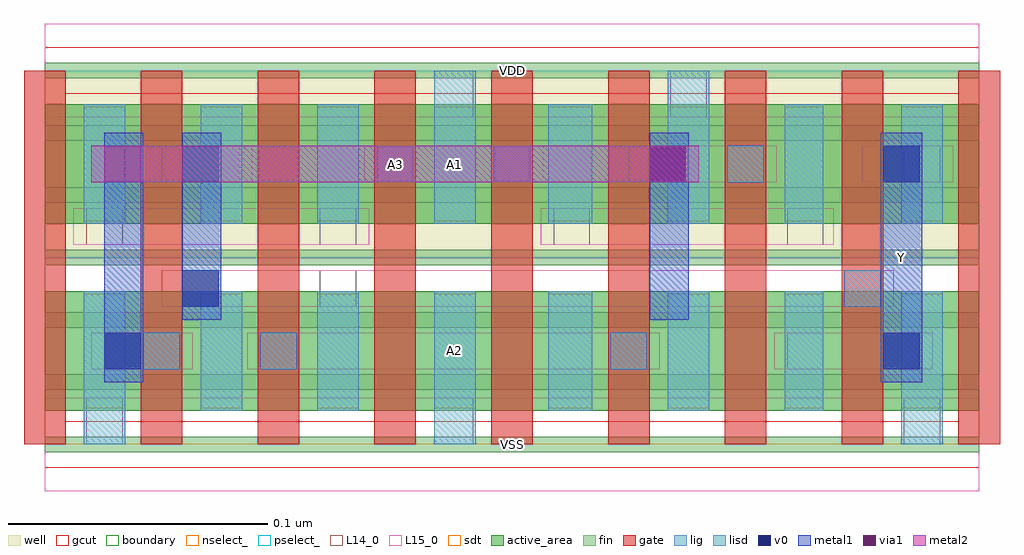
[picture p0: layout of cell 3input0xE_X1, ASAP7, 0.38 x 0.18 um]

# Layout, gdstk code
import gdstk
lib = gdstk.Library(unit=1e-6, precision=1e-09)
def R(c, l, rs):  # rectangles x0, y0, x1, y1
    for r in rs: c.add(gdstk.rectangle(r[:2], r[2:], *l))
def A(c, l, x, y, w, h, nx, ny, dx, dy):  # array of equal rectangles
    R(c, l, [(x+i*dx, y+j*dy, x+i*dx+w, y+j*dy+h) for i in range(nx) for j in range(ny)])
def P(c, l, *ps):  # polygons
    for p in ps: c.add(gdstk.Polygon(p, *l))
well = (1, 0)
fin = (2, 0)
gate = (7, 0)
gcut = (10, 0)
active_area = (11, 0)
nselect_ = (12, 0)
pselect_ = (13, 0)
L14_0 = (14, 0)
L15_0 = (15, 0)
lig = (16, 0)
lisd = (17, 0)
v0 = (18, 0)
metal1 = (19, 0)
metal2 = (20, 0)
via1 = (21, 0)
sdt = (88, 0)
boundary = (100, 0)

c_3input0xe_x1 = lib.new_cell('3input0xE_X1')
R(c_3input0xe_x1, well, [(0,0.072,0.36,0.144)])
A(c_3input0xe_x1, fin, 0, -0.003, 0.36, 0.006, 1, 7, 0, 0.024)
A(c_3input0xe_x1, gate, -0.008, 0, 0.016, 0.144, 9, 1, 0.045, 0)
P(c_3input0xe_x1, gcut, [(0,-0.009),(0,0),(-0.008,0),(-0.008,0.135),(0.008,0.135),(0.008,0.009),(0.352,0.009),(0.352,0.135),(-0.008,0.135),(-0.008,0.144),(0,0.144),(0,0.153),(0.36,0.153),(0.36,0.144),(0.368,0.144),(0.368,0),(0.36,0),(0.36,-0.009)])
R(c_3input0xe_x1, active_area, [(0,0.013,0.36,0.059), (0,0.085,0.36,0.131)])
R(c_3input0xe_x1, nselect_, [(0,0,0.36,0.072)])
R(c_3input0xe_x1, pselect_, [(0,0.072,0.36,0.144)])
A(c_3input0xe_x1, L14_0, 0.016, 0.077, 0.014, 0.014, 4, 1, 0.09, 0)
R(c_3input0xe_x1, L14_0, [(0.016,0,0.03,0.018), (0.15,0,0.165,0.018), (0.331,0,0.345,0.018), (0.038,0.029,0.052,0.043), (0.083,0.029,0.097,0.043), (0.218,0.029,0.232,0.043), (0.286,0.029,0.3,0.043), (0.106,0.053,0.12,0.067), (0.308,0.053,0.322,0.067), (0.061,0.101,0.075,0.115), (0.128,0.101,0.142,0.115), (0.173,0.101,0.187,0.115), (0.263,0.101,0.277,0.115), (0.331,0.101,0.345,0.115), (0.15,0.126,0.165,0.144), (0.241,0.126,0.255,0.144)])
R(c_3input0xe_x1, L15_0, [(0,-0.018,0.36,0.018), (0.018,0.029,0.057,0.043), (0.078,0.029,0.237,0.043), (0.281,0.029,0.342,0.043), (0.045,0.053,0.327,0.067), (0.011,0.077,0.125,0.091), (0.191,0.077,0.304,0.091), (0.045,0.101,0.08,0.115), (0.123,0.101,0.192,0.115), (0.225,0.101,0.282,0.115), (0.315,0.101,0.35,0.115), (0,0.126,0.36,0.162)])
R(c_3input0xe_x1, lig, [(0.038,0.029,0.052,0.043), (0.083,0.029,0.097,0.043), (0.218,0.029,0.232,0.043), (0.308,0.053,0.322,0.067), (0.128,0.101,0.142,0.115), (0.173,0.101,0.187,0.115), (0.263,0.101,0.277,0.115)])
A(c_3input0xe_x1, lisd, 0.015, 0.085, 0.016, 0.046, 3, 1, 0.045, 0)
R(c_3input0xe_x1, lisd, [(0.015,0,0.031,0.059), (0.15,0,0.166,0.059), (0.33,0,0.346,0.059), (0.06,0.013,0.076,0.059), (0.105,0.013,0.121,0.059), (0.194,0.013,0.211,0.059), (0.24,0.013,0.256,0.059), (0.285,0.013,0.3,0.059), (0.15,0.085,0.166,0.144), (0.194,0.085,0.211,0.131), (0.24,0.085,0.256,0.144), (0.285,0.085,0.3,0.131), (0.33,0.085,0.346,0.131)])
R(c_3input0xe_x1, v0, [(0.023,0.029,0.037,0.043), (0.323,0.029,0.337,0.043), (0.053,0.053,0.067,0.067), (0.053,0.101,0.067,0.115), (0.233,0.101,0.247,0.115), (0.323,0.101,0.337,0.115)])
R(c_3input0xe_x1, metal1, [(0.023,0.024,0.038,0.12), (0.322,0.024,0.338,0.12), (0.053,0.048,0.068,0.12), (0.233,0.048,0.248,0.12)])
R(c_3input0xe_x1, metal2, [(0.018,0.101,0.252,0.115)])
R(c_3input0xe_x1, via1, [(0.023,0.101,0.037,0.115), (0.233,0.101,0.247,0.115)])
A(c_3input0xe_x1, sdt, 0.015, 0.014, 0.016, 0.044, 4, 2, 0.045, 0.072)
R(c_3input0xe_x1, sdt, [(0.194,0.014,0.211,0.058), (0.24,0.014,0.256,0.058), (0.285,0.014,0.3,0.058), (0.33,0.014,0.346,0.058), (0.194,0.086,0.211,0.13), (0.24,0.086,0.256,0.13), (0.285,0.086,0.3,0.13), (0.33,0.086,0.346,0.13)])
R(c_3input0xe_x1, boundary, [(0,0,0.36,0.144)])
c_3input0xe_x1.add(gdstk.Label('A2', (0.158,0.036), layer=15, texttype=251))
c_3input0xe_x1.add(gdstk.Label('VSS', (0.18,0), layer=15, texttype=251))
c_3input0xe_x1.add(gdstk.Label('VDD', (0.18,0.144), layer=15, texttype=251))
c_3input0xe_x1.add(gdstk.Label('VSS', (0.18,0), layer=15, texttype=251))
c_3input0xe_x1.add(gdstk.Label('VDD', (0.18,0.144), layer=15, texttype=251))
c_3input0xe_x1.add(gdstk.Label('VSS', (0.18,0), layer=15, texttype=251))
c_3input0xe_x1.add(gdstk.Label('VDD', (0.18,0.144), layer=15, texttype=251))
c_3input0xe_x1.add(gdstk.Label('A1', (0.158,0.108), layer=15, texttype=251))
c_3input0xe_x1.add(gdstk.Label('VSS', (0.18,0), layer=15, texttype=251))
c_3input0xe_x1.add(gdstk.Label('VDD', (0.18,0.144), layer=15, texttype=251))
c_3input0xe_x1.add(gdstk.Label('VSS', (0.18,0), layer=3, texttype=251))
c_3input0xe_x1.add(gdstk.Label('VSS', (0.18,0), layer=3, texttype=251))
c_3input0xe_x1.add(gdstk.Label('VSS', (0.18,0), layer=3, texttype=251))
c_3input0xe_x1.add(gdstk.Label('VSS', (0.18,0), layer=3, texttype=251))
c_3input0xe_x1.add(gdstk.Label('VDD', (0.18,0.144), layer=1, texttype=251))
c_3input0xe_x1.add(gdstk.Label('VDD', (0.18,0.144), layer=1, texttype=251))
c_3input0xe_x1.add(gdstk.Label('VDD', (0.18,0.144), layer=1, texttype=251))
c_3input0xe_x1.add(gdstk.Label('VDD', (0.18,0.144), layer=1, texttype=251))
c_3input0xe_x1.add(gdstk.Label('A3', (0.135,0.108), layer=20, texttype=251))
c_3input0xe_x1.add(gdstk.Label('Y', (0.33,0.072), layer=19, texttype=251))

lib.write_gds('3input0xE_X1.gds')
